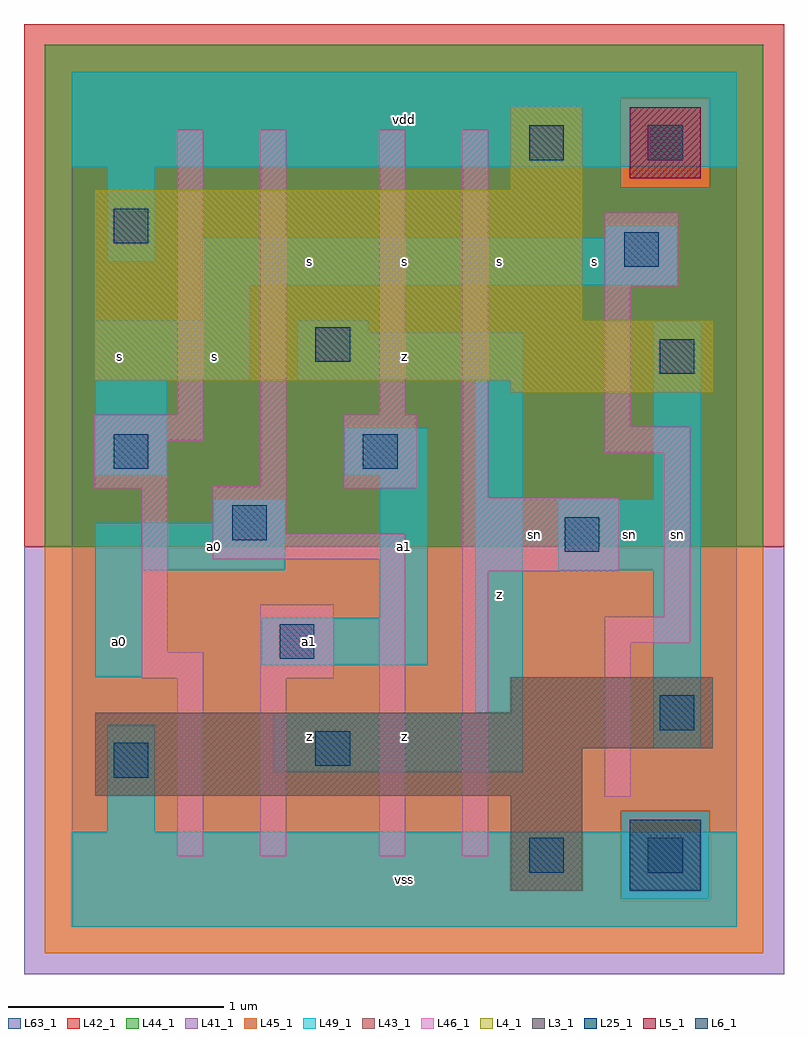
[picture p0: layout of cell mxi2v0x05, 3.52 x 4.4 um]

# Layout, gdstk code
import gdstk
lib = gdstk.Library(unit=1e-6, precision=1e-09)
def R(c, l, rs):  # rectangles x0, y0, x1, y1
    for r in rs: c.add(gdstk.rectangle(r[:2], r[2:], *l))
L3_1 = (3, 1)
L4_1 = (4, 1)
L5_1 = (5, 1)
L6_1 = (6, 1)
L25_1 = (25, 1)
L41_1 = (41, 1)
L42_1 = (42, 1)
L43_1 = (43, 1)
L44_1 = (44, 1)
L45_1 = (45, 1)
L46_1 = (46, 1)
L49_1 = (49, 1)
L63_1 = (63, 1)

mxi2v0x05 = lib.new_cell('mxi2v0x05')
R(mxi2v0x05, L3_1, [(2.035,0.165,2.365,0.605), (0.11,0.605,2.365,0.825), (0.11,0.825,2.97,0.99), (2.035,0.99,2.97,1.155)])
R(mxi2v0x05, L4_1, [(2.035,2.475,2.97,2.53), (0.11,2.53,2.97,2.805), (0.11,2.805,2.365,3.41), (2.035,3.41,2.365,3.795)])
R(mxi2v0x05, L5_1, [(2.585,3.465,2.915,3.795)])
R(mxi2v0x05, L6_1, [(2.585,0.165,2.915,0.495)])
R(mxi2v0x05, L25_1, [(2.12,0.25,2.28,0.41), (2.67,0.25,2.83,0.41), (0.195,0.69,0.355,0.85), (1.13,0.745,1.29,0.905), (2.725,0.91,2.885,1.07), (0.965,1.24,1.125,1.4), (2.285,1.735,2.445,1.895), (0.745,1.79,0.905,1.95), (0.195,2.12,0.355,2.28), (1.35,2.12,1.51,2.28), (2.725,2.56,2.885,2.72), (1.13,2.615,1.29,2.775), (2.56,3.055,2.72,3.215), (0.195,3.165,0.355,3.325), (2.12,3.55,2.28,3.71), (2.67,3.55,2.83,3.71)])
R(mxi2v0x05, L41_1, [(-0.22,-0.22,3.3,1.76)])
R(mxi2v0x05, L42_1, [(-0.22,1.76,3.3,4.18)])
R(mxi2v0x05, L43_1, [(2.035,0.165,2.365,0.605), (2.585,0.165,2.915,0.495), (0.11,0.605,2.365,0.825), (0.11,0.825,2.97,0.99), (2.035,0.99,2.97,1.155), (2.035,2.475,2.97,2.53), (0.11,2.53,2.97,2.805), (0.11,2.805,2.365,3.41), (2.035,3.41,2.365,3.795), (2.585,3.465,2.915,3.795)])
R(mxi2v0x05, L44_1, [(2.545,0.125,2.955,0.535), (-0.125,1.76,3.205,3.425), (-0.125,3.425,2.545,3.835), (2.955,3.425,3.205,3.835), (-0.125,3.835,3.205,4.085)])
R(mxi2v0x05, L45_1, [(-0.125,-0.125,3.205,0.125), (-0.125,0.125,2.545,0.535), (2.955,0.125,3.205,0.535), (-0.125,0.535,3.205,1.76), (2.545,3.425,2.955,3.835)])
R(mxi2v0x05, L46_1, [(0.49,0.325,0.61,1.15), (0.875,0.325,0.995,1.15), (1.425,0.325,1.545,1.7), (1.81,0.325,1.93,1.645), (2.47,0.6,2.59,1.315), (0.325,1.15,0.61,1.27), (0.875,1.15,1.215,1.49), (0.325,1.27,0.445,2.03), (2.47,1.315,2.865,1.435), (2.745,1.435,2.865,2.195), (1.81,1.645,2.535,1.985), (0.655,1.7,1.545,1.82), (0.655,1.82,0.995,2.04), (1.81,1.985,1.93,3.69), (0.105,2.03,0.445,2.25), (1.26,2.03,1.6,2.37), (0.875,2.04,0.995,3.69), (2.47,2.195,2.865,2.315), (0.105,2.25,0.61,2.37), (2.47,2.315,2.59,2.965), (0.49,2.37,0.61,3.69), (1.425,2.37,1.545,3.69), (2.47,2.965,2.81,3.305)])
R(mxi2v0x05, L49_1, [(0,0,3.08,0.44), (0.165,0.44,0.385,0.935), (0.935,0.715,2.09,0.99), (2.695,0.825,2.915,1.65), (1.87,0.99,2.09,2.53), (0.11,1.155,0.33,1.65), (0.88,1.21,1.65,1.43), (1.43,1.43,1.65,2.09), (0.11,1.65,0.99,1.87), (2.255,1.65,2.915,1.98), (0.66,1.87,0.99,1.98), (2.695,1.98,2.915,2.805), (0.11,2.09,0.44,2.53), (1.265,2.09,1.65,2.31), (0.11,2.53,0.825,2.805), (1.045,2.53,2.09,2.75), (1.045,2.75,1.375,2.805), (0.605,2.805,0.825,2.97), (0.605,2.97,2.805,3.19), (0.165,3.08,0.385,3.52), (2.475,3.19,2.805,3.245), (0,3.52,3.08,3.96)])
R(mxi2v0x05, L63_1, [(0,0,3.08,3.96)])
mxi2v0x05.add(gdstk.Label('sn', (2.145,1.815), layer=46, texttype=1))
mxi2v0x05.add(gdstk.Label('a0', (0.22,1.32), layer=49, texttype=1))
mxi2v0x05.add(gdstk.Label('s', (0.22,2.64), layer=49, texttype=1))
mxi2v0x05.add(gdstk.Label('z', (1.1,0.88), layer=49, texttype=1))
mxi2v0x05.add(gdstk.Label('a0', (0.66,1.76), layer=49, texttype=1))
mxi2v0x05.add(gdstk.Label('a1', (1.1,1.32), layer=49, texttype=1))
mxi2v0x05.add(gdstk.Label('s', (0.66,2.64), layer=49, texttype=1))
mxi2v0x05.add(gdstk.Label('s', (1.1,3.08), layer=49, texttype=1))
mxi2v0x05.add(gdstk.Label('vss', (1.54,0.22), layer=49, texttype=1))
mxi2v0x05.add(gdstk.Label('z', (1.54,0.88), layer=49, texttype=1))
mxi2v0x05.add(gdstk.Label('a1', (1.54,1.76), layer=49, texttype=1))
mxi2v0x05.add(gdstk.Label('z', (1.98,1.54), layer=49, texttype=1))
mxi2v0x05.add(gdstk.Label('z', (1.54,2.64), layer=49, texttype=1))
mxi2v0x05.add(gdstk.Label('s', (1.98,3.08), layer=49, texttype=1))
mxi2v0x05.add(gdstk.Label('s', (1.54,3.08), layer=49, texttype=1))
mxi2v0x05.add(gdstk.Label('vdd', (1.54,3.74), layer=49, texttype=1))
mxi2v0x05.add(gdstk.Label('sn', (2.585,1.815), layer=49, texttype=1))
mxi2v0x05.add(gdstk.Label('sn', (2.805,1.815), layer=49, texttype=1))
mxi2v0x05.add(gdstk.Label('s', (2.42,3.08), layer=49, texttype=1))

lib.write_gds('mxi2v0x05.gds')
